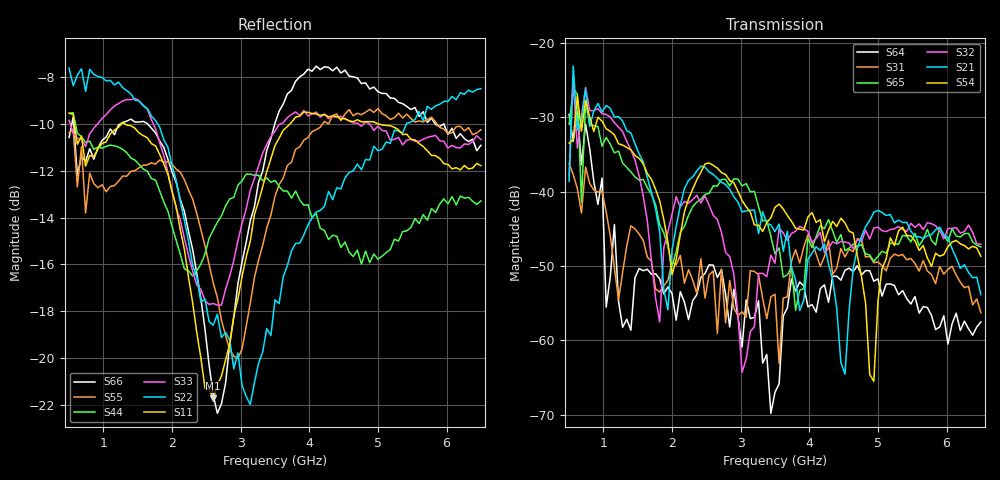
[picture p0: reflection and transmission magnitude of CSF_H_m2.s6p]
!Keysight Technologies,M9804A,MY58100912,A.14.10.03
!Date: Thursday, April 27, 2023 10:28:33
!Correction: S11(C  6-Port  )
!S12(C  6-Port  )
!S13(C  6-Port  )
!S14(C  6-Port  )
!S15(C  6-Port  )
!S16(C  6-Port  )
!S21(C  6-Port  )
!S22(C  6-Port  )
!S23(C  6-Port  )
!S24(C  6-Port  )
!S25(C  6-Port  )
!S26(C  6-Port  )
!S31(C  6-Port  )
!S32(C  6-Port  )
!S33(C  6-Port  )
!S34(C  6-Port  )
!S35(C  6-Port  )
!S36(C  6-Port  )
!S41(C  6-Port  )
!S42(C  6-Port  )
!S43(C  6-Port  )
!S44(C  6-Port  )
!S45(C  6-Port  )
!S46(C  6-Port  )
!S51(C  6-Port  )
!S52(C  6-Port  )
!S53(C  6-Port  )
!S54(C  6-Port  )
!S55(C  6-Port  )
!S56(C  6-Port  )
!S61(C  6-Port  )
!S62(C  6-Port  )
!S63(C  6-Port  )
!S64(C  6-Port  )
!S65(C  6-Port  )
!S66(C  6-Port  )
!S6P File: Measurement: :
# Hz S  RI  R 50
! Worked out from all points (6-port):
!   101 points, 500 MHz to 6.5 GHz, reference 50 ohm
!   strongest paths, dB at 500 MHz, 2 GHz, 3.5 GHz, 5 GHz, 6.5 GHz:
!     S54: -33.5, -51.2, -42.1, -54.8, -48.7
!     S21: -38.6, -47.8, -45.4, -42.5, -53.9
!     S32: -37.9, -43.0, -49.6, -44.8, -47.1
!     S65: -31.0, -50.0, -48.4, -48.7, -47.4
!     S31: -36.2, -49.5, -53.8, -49.4, -56.3
!     S64: -29.6, -53.7, -67.0, -51.7, -57.5
!   lowest |S11| = -21.7 dB at 2.6 GHz (marker M1), VSWR 1.18, Z = 42.7 + j1.98 ohm
!   |S11| at or under -10 dB: 579.4 MHz to 1.261 GHz (681.8 MHz wide, 74.1 % of centre); 1.316 GHz to 3.715 GHz (2.399 GHz wide, 95.4 % of centre); 5.011 GHz to end of sweep
